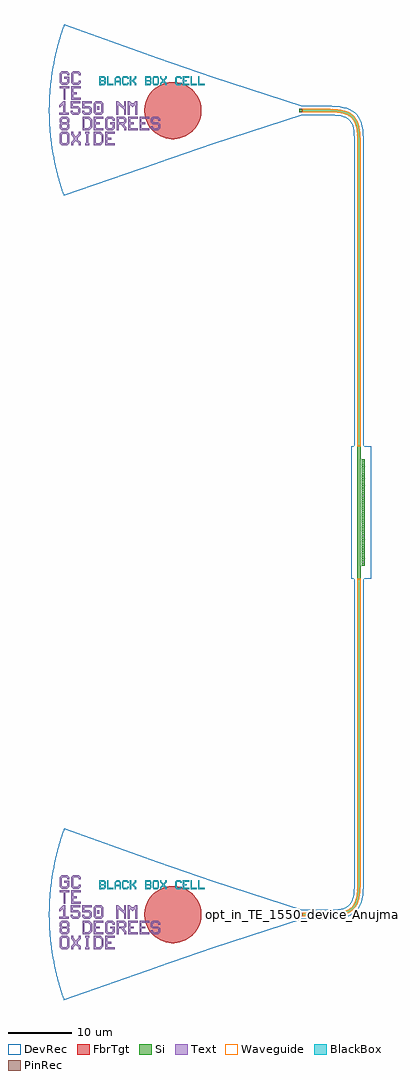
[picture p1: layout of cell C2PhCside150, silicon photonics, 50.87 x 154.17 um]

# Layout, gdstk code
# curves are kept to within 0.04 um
from math import pi, radians
import gdstk
lib = gdstk.Library(unit=1e-6, precision=1e-09)
def R(c, l, rs):  # rectangles x0, y0, x1, y1
    for r in rs: c.add(gdstk.rectangle(r[:2], r[2:], *l))
def P(c, l, *ps):  # polygons
    for p in ps: c.add(gdstk.Polygon(p, *l))
Si = (1, 0)
PinRec = (1, 10)
Waveguide = (1, 99)
Text = (10, 0)
DevRec = (68, 0)
FbrTgt = (81, 0)
BlackBox = (998, 0)

text = lib.new_cell('TEXT')
P(text, BlackBox, [(0,0),(0,1.4),(0.8,1.4),(1,1.2),(0.2,1.2),(0.2,0.8),(0.7,0.8),(0.8,0.9),(0.8,1.1),(0.7,1.2),(1,1.2),(1,0.8),(0.9,0.7),(1,0.6),(0.2,0.6),(0.2,0.2),(0.7,0.2),(0.8,0.3),(0.8,0.5),(0.7,0.6),(1,0.6),(1,0.2),(0.8,0)],
  [(1.2,0),(1.2,1.4),(1.4,1.4),(1.4,0.2),(2.2,0.2),(2.2,0)],
  [(2.4,0),(2.4,1.1),(2.7,1.4),(3.1,1.4),(3.3,1.2),(2.8,1.2),(2.6,1),(2.6,0.7),(3.2,0.7),(3.2,1),(3,1.2),(3.3,1.2),(3.4,1.1),(3.4,0),(3.2,0),(3.2,0.5),(2.6,0.5),(2.6,0)],
  [(3.8,0),(3.6,0.2),(3.6,1.2),(3.8,1.4),(4.4,1.4),(4.6,1.2),(4.6,1),(4.4,1),(4.4,1.1),(4.3,1.2),(3.9,1.2),(3.8,1.1),(3.8,0.3),(3.9,0.2),(4.3,0.2),(4.4,0.3),(4.4,0.4),(4.6,0.4),(4.6,0.2),(4.4,0)],
  [(4.8,0),(4.8,1.4),(5,1.4),(5,0.8),(5.2,0.8),(5.6,1.2),(5.6,1.4),(5.8,1.4),(5.8,1.1),(5.4,0.7),(5.8,0.3),(5.8,0),(5.6,0),(5.6,0.2),(5.2,0.6),(5,0.6),(5,0)],
  [(7.2,0),(7.2,1.4),(8,1.4),(8.2,1.2),(7.4,1.2),(7.4,0.8),(7.9,0.8),(8,0.9),(8,1.1),(7.9,1.2),(8.2,1.2),(8.2,0.8),(8.1,0.7),(8.2,0.6),(7.4,0.6),(7.4,0.2),(7.9,0.2),(8,0.3),(8,0.5),(7.9,0.6),(8.2,0.6),(8.2,0.2),(8,0)],
  [(8.6,0),(8.4,0.2),(8.4,1.2),(8.6,1.4),(9.2,1.4),(9.4,1.2),(9.4,0.7),(9.2,0.7),(9.2,1.1),(9.1,1.2),(8.7,1.2),(8.6,1.1),(8.6,0.3),(8.7,0.2),(9.1,0.2),(9.2,0.3),(9.2,0.7),(9.4,0.7),(9.4,0.2),(9.2,0)],
  [(9.6,0),(9.6,0.3),(9.9,0.6),(9.9,0.8),(9.6,1.1),(9.6,1.4),(9.8,1.4),(9.8,1.2),(10.1,0.9),(10.4,1.2),(10.4,1.4),(10.6,1.4),(10.6,1.1),(10.3,0.8),(10.3,0.6),(10.6,0.3),(10.6,0),(10.4,0),(10.4,0.2),(10.1,0.5),(9.8,0.2),(9.8,0)],
  [(12.2,0),(12,0.2),(12,1.2),(12.2,1.4),(12.8,1.4),(13,1.2),(13,1),(12.8,1),(12.8,1.1),(12.7,1.2),(12.3,1.2),(12.2,1.1),(12.2,0.3),(12.3,0.2),(12.7,0.2),(12.8,0.3),(12.8,0.4),(13,0.4),(13,0.2),(12.8,0)],
  [(13.2,0),(13.2,1.4),(14.2,1.4),(14.2,1.2),(13.4,1.2),(13.4,0.8),(13.8,0.8),(13.8,0.6),(13.4,0.6),(13.4,0.2),(14.2,0.2),(14.2,0)],
  [(14.4,0),(14.4,1.4),(14.6,1.4),(14.6,0.2),(15.4,0.2),(15.4,0)],
  [(15.6,0),(15.6,1.4),(15.8,1.4),(15.8,0.2),(16.6,0.2),(16.6,0)])

gc_te_1550_8degoxide_bb = lib.new_cell('GC_TE_1550_8degOxide_BB')
R(gc_te_1550_8degoxide_bb, Si, [(-0.4,-0.25,0,0.25)])
R(gc_te_1550_8degoxide_bb, Text, [(-32.313,0.092,-32.013,0.692)])
P(gc_te_1550_8degoxide_bb, Text, [(-37.67,1.71),(-37.67,3.51),(-38.27,3.51),(-38.27,3.81),(-36.77,3.81),(-36.77,3.51),(-37.37,3.51),(-37.37,1.71)],
  [(-37.97,-5.49),(-38.27,-5.19),(-38.27,-3.69),(-37.97,-3.39),(-37.07,-3.39),(-36.77,-3.69),(-36.77,-4.44),(-37.07,-4.44),(-37.07,-3.84),(-37.22,-3.69),(-37.82,-3.69),(-37.97,-3.84),(-37.97,-5.04),(-37.82,-5.19),(-37.22,-5.19),(-37.07,-5.04),(-37.07,-4.44),(-36.77,-4.44),(-36.77,-5.19),(-37.07,-5.49)],
  [(-31.07,-5.49),(-31.07,-3.39),(-29.57,-3.39),(-29.57,-3.69),(-30.77,-3.69),(-30.77,-4.29),(-30.17,-4.29),(-30.17,-4.59),(-30.77,-4.59),(-30.77,-5.19),(-29.57,-5.19),(-29.57,-5.49)],
  [(-32.87,-3.09),(-32.87,-0.99),(-31.37,-0.99),(-31.37,-1.29),(-32.57,-1.29),(-32.57,-1.89),(-31.97,-1.89),(-31.97,-2.19),(-32.57,-2.19),(-32.57,-2.79),(-31.37,-2.79),(-31.37,-3.09)],
  [(-27.47,-3.09),(-27.47,-0.99),(-25.97,-0.99),(-25.97,-1.29),(-27.17,-1.29),(-27.17,-1.89),(-26.57,-1.89),(-26.57,-2.19),(-27.17,-2.19),(-27.17,-2.79),(-25.97,-2.79),(-25.97,-3.09)],
  [(-25.67,-3.09),(-25.67,-0.99),(-24.17,-0.99),(-24.17,-1.29),(-25.37,-1.29),(-25.37,-1.89),(-24.77,-1.89),(-24.77,-2.19),(-25.37,-2.19),(-25.37,-2.79),(-24.17,-2.79),(-24.17,-3.09)],
  [(-36.47,1.71),(-36.47,3.81),(-34.97,3.81),(-34.97,3.51),(-36.17,3.51),(-36.17,2.91),(-35.57,2.91),(-35.57,2.61),(-36.17,2.61),(-36.17,2.01),(-34.97,2.01),(-34.97,1.71)],
  [(-29.313,-0.658),(-29.313,1.442),(-29.013,1.442),(-28.263,0.692),(-28.113,0.692),(-28.113,1.442),(-27.813,1.442),(-27.813,-0.658),(-28.113,-0.658),(-28.113,0.092),(-28.863,0.842),(-29.013,0.842),(-29.013,-0.658)],
  [(-34.22,-5.49),(-34.22,-5.19),(-34.07,-5.19),(-34.07,-3.69),(-34.22,-3.69),(-34.22,-3.39),(-33.62,-3.39),(-33.62,-3.69),(-33.77,-3.69),(-33.77,-5.19),(-33.62,-5.19),(-33.62,-5.49)],
  [(-36.17,4.11),(-36.47,4.41),(-36.47,5.91),(-36.17,6.21),(-35.27,6.21),(-34.97,5.91),(-34.97,5.61),(-35.27,5.61),(-35.27,5.76),(-35.42,5.91),(-36.02,5.91),(-36.17,5.76),(-36.17,4.56),(-36.02,4.41),(-35.42,4.41),(-35.27,4.56),(-35.27,4.71),(-34.97,4.71),(-34.97,4.41),(-35.27,4.11)],
  [(-27.513,-0.658),(-27.513,1.442),(-27.213,1.442),(-26.913,1.142),(-26.613,1.142),(-26.313,1.442),(-26.013,1.442),(-26.013,-0.658),(-26.313,-0.658),(-26.313,0.842),(-26.463,0.842),(-26.763,0.542),(-27.063,0.842),(-27.213,0.842),(-27.213,-0.658)],
  [(-32.613,-0.658),(-32.913,-0.358),(-32.913,1.142),(-32.613,1.442),(-31.713,1.442),(-31.413,1.142),(-32.463,1.142),(-32.613,0.992),(-32.613,-0.208),(-32.463,-0.358),(-31.863,-0.358),(-31.713,-0.208),(-31.713,0.992),(-31.863,1.142),(-31.413,1.142),(-31.413,-0.358),(-31.713,-0.658)],
  [(-32.87,-5.49),(-32.87,-3.39),(-31.82,-3.39),(-31.52,-3.69),(-32.57,-3.69),(-32.57,-5.19),(-31.97,-5.19),(-31.67,-4.89),(-31.67,-3.99),(-31.97,-3.69),(-31.52,-3.69),(-31.37,-3.84),(-31.37,-5.04),(-31.82,-5.49)],
  [(-34.67,-3.09),(-34.67,-0.99),(-33.62,-0.99),(-33.32,-1.29),(-34.37,-1.29),(-34.37,-2.79),(-33.77,-2.79),(-33.47,-2.49),(-33.47,-1.59),(-33.77,-1.29),(-33.32,-1.29),(-33.17,-1.44),(-33.17,-2.64),(-33.62,-3.09)],
  [(-23.57,-3.09),(-23.87,-2.79),(-23.87,-2.49),(-23.57,-2.49),(-23.57,-2.64),(-23.42,-2.79),(-22.82,-2.79),(-22.67,-2.64),(-22.67,-2.34),(-22.82,-2.19),(-23.57,-2.19),(-23.87,-1.89),(-23.87,-1.29),(-23.57,-0.99),(-22.67,-0.99),(-22.37,-1.29),(-22.37,-1.59),(-22.67,-1.59),(-22.67,-1.44),(-22.82,-1.29),(-23.42,-1.29),(-23.57,-1.44),(-23.57,-1.74),(-23.42,-1.89),(-22.67,-1.89),(-22.37,-2.19),(-22.37,-2.79),(-22.67,-3.09)],
  [(-36.213,-0.658),(-36.513,-0.358),(-36.513,-0.058),(-36.213,-0.058),(-36.213,-0.208),(-36.063,-0.358),(-35.463,-0.358),(-35.313,-0.208),(-35.313,0.242),(-35.463,0.392),(-36.513,0.392),(-36.513,1.442),(-35.013,1.442),(-35.013,1.142),(-36.213,1.142),(-36.213,0.692),(-35.313,0.692),(-35.013,0.392),(-35.013,-0.358),(-35.313,-0.658)],
  [(-34.413,-0.658),(-34.713,-0.358),(-34.713,-0.058),(-34.413,-0.058),(-34.413,-0.208),(-34.263,-0.358),(-33.663,-0.358),(-33.513,-0.208),(-33.513,0.242),(-33.663,0.392),(-34.713,0.392),(-34.713,1.442),(-33.213,1.442),(-33.213,1.142),(-34.413,1.142),(-34.413,0.692),(-33.513,0.692),(-33.213,0.392),(-33.213,-0.358),(-33.513,-0.658)],
  [(-37.97,-3.09),(-38.27,-2.79),(-38.27,-2.19),(-38.12,-2.04),(-38.27,-1.89),(-38.27,-1.29),(-37.97,-0.99),(-37.07,-0.99),(-36.77,-1.29),(-37.82,-1.29),(-37.97,-1.44),(-37.97,-1.74),(-37.82,-1.89),(-37.22,-1.89),(-37.07,-1.74),(-37.07,-1.44),(-37.22,-1.29),(-36.77,-1.29),(-36.77,-1.89),(-36.92,-2.04),(-36.77,-2.19),(-37.82,-2.19),(-37.97,-2.34),(-37.97,-2.64),(-37.82,-2.79),(-37.22,-2.79),(-37.07,-2.64),(-37.07,-2.34),(-37.22,-2.19),(-36.77,-2.19),(-36.77,-2.79),(-37.07,-3.09)],
  [(-38.313,-0.658),(-38.313,-0.358),(-37.713,-0.358),(-37.713,0.842),(-37.863,0.842),(-38.163,0.542),(-38.313,0.542),(-38.313,0.842),(-37.713,1.442),(-37.413,1.442),(-37.413,-0.358),(-36.813,-0.358),(-36.813,-0.658)],
  [(-36.47,-5.49),(-36.47,-5.04),(-36.02,-4.59),(-36.02,-4.29),(-36.47,-3.84),(-36.47,-3.39),(-36.17,-3.39),(-36.17,-3.69),(-35.72,-4.14),(-35.27,-3.69),(-35.27,-3.39),(-34.97,-3.39),(-34.97,-3.84),(-35.42,-4.29),(-35.42,-4.59),(-34.97,-5.04),(-34.97,-5.49),(-35.27,-5.49),(-35.27,-5.19),(-35.72,-4.74),(-36.17,-5.19),(-36.17,-5.49)],
  [(-30.77,-3.09),(-31.07,-2.79),(-31.07,-1.29),(-30.77,-0.99),(-29.87,-0.99),(-29.57,-1.29),(-29.57,-1.59),(-29.87,-1.59),(-29.87,-1.44),(-30.02,-1.29),(-30.62,-1.29),(-30.77,-1.44),(-30.77,-2.64),(-30.62,-2.79),(-30.02,-2.79),(-29.87,-2.64),(-29.87,-2.19),(-30.32,-2.19),(-30.32,-1.89),(-29.57,-1.89),(-29.57,-2.79),(-29.87,-3.09)],
  [(-37.97,4.11),(-38.27,4.41),(-38.27,5.91),(-37.97,6.21),(-37.07,6.21),(-36.77,5.91),(-36.77,5.61),(-37.07,5.61),(-37.07,5.76),(-37.22,5.91),(-37.82,5.91),(-37.97,5.76),(-37.97,4.56),(-37.82,4.41),(-37.22,4.41),(-37.07,4.56),(-37.07,5.01),(-37.52,5.01),(-37.52,5.31),(-36.77,5.31),(-36.77,4.41),(-37.07,4.11)],
  [(-29.27,-3.09),(-29.27,-0.99),(-28.07,-0.99),(-27.77,-1.29),(-28.97,-1.29),(-28.97,-1.89),(-28.22,-1.89),(-28.07,-1.74),(-28.07,-1.44),(-28.22,-1.29),(-27.77,-1.29),(-27.77,-1.89),(-28.07,-2.19),(-28.07,-2.34),(-27.77,-2.64),(-27.77,-3.09),(-28.07,-3.09),(-28.07,-2.79),(-28.67,-2.19),(-28.97,-2.19),(-28.97,-3.09)])
P(gc_te_1550_8degoxide_bb, DevRec, [(-37.607,-13.5),(-38.627,-10.245),(-39.378,-6.832),(-39.647,-5.058),(-39.835,-3.274),(-39.969,0.224),(-39.812,3.541),(-39.331,7.097),(-38.557,10.505),(-37.546,13.669),(-22.8,8.353),(-14.109,5.36),(0,0.75),(0,-0.75),(-14.109,-5.36)])
P(gc_te_1550_8degoxide_bb, FbrTgt, [(-20.621,-4.5),(-21.495,-4.37),(-22.326,-4.073),(-23.084,-3.619),(-23.738,-3.026),(-24.264,-2.316),(-24.642,-1.518),(-24.857,-0.661),(-24.9,0.221),(-24.77,1.095),(-24.473,1.926),(-24.019,2.684),(-23.426,3.338),(-22.716,3.864),(-21.918,4.242),(-21.061,4.457),(-20.179,4.5),(-19.305,4.37),(-18.474,4.073),(-17.716,3.619),(-17.062,3.026),(-16.536,2.316),(-16.158,1.518),(-15.943,0.661),(-15.9,-0.221),(-16.03,-1.095),(-16.327,-1.926),(-16.781,-2.684),(-17.374,-3.338),(-18.084,-3.864),(-18.882,-4.242),(-19.739,-4.457)])
gc_te_1550_8degoxide_bb.add(gdstk.FlexPath([(-0.01,0),(0.01,0)], 0.5, ends="flush", simple_path=True, layer=1, datatype=10))  # PinRec
gc_te_1550_8degoxide_bb.add(gdstk.Reference(text, (-32,4)))
gc_te_1550_8degoxide_bb.add(gdstk.Label('opt1', (0,0), layer=1, texttype=10))
gc_te_1550_8degoxide_bb.add(gdstk.Label('Lumerical_INTERCONNECT_library=Design kits/ebeam', (-29,-7), layer=68, texttype=0))
gc_te_1550_8degoxide_bb.add(gdstk.Label('Component=GC_TE_1550_8degOxide_BB', (-28,-5), layer=68, texttype=0))

nanobeam_side_r110nm_ac3 = lib.new_cell('nanobeam_side_r110nm_ac342nm_am377nm_m12_g150nm')
R(nanobeam_side_r110nm_ac3, Si, [(-10.441,-0.25,10.441,0.25)])
P(nanobeam_side_r110nm_ac3, Si, [(-8.441,-0.9),(-8.441,-0.54),(-7.831,-0.54),(-7.909,-0.572),(-7.941,-0.639),(-7.909,-0.728),(-7.831,-0.76),(-7.753,-0.728),(-7.721,-0.65),(-7.753,-0.572),(-7.831,-0.54),(-7.455,-0.54),(-7.532,-0.572),(-7.565,-0.65),(-7.54,-0.72),(-7.455,-0.76),(-7.377,-0.728),(-7.345,-0.661),(-7.377,-0.572),(-7.455,-0.54),(-7.078,-0.54),(-7.156,-0.572),(-7.188,-0.65),(-7.156,-0.728),(-7.078,-0.76),(-7,-0.728),(-6.968,-0.661),(-7,-0.572),(-7.078,-0.54),(-6.701,-0.54),(-6.779,-0.572),(-6.811,-0.639),(-6.779,-0.728),(-6.701,-0.76),(-6.624,-0.728),(-6.591,-0.65),(-6.616,-0.58),(-6.701,-0.54),(-6.325,-0.54),(-6.403,-0.572),(-6.435,-0.65),(-6.403,-0.728),(-6.325,-0.76),(-6.247,-0.728),(-6.215,-0.661),(-6.247,-0.572),(-6.325,-0.54),(-5.948,-0.54),(-6.026,-0.572),(-6.058,-0.639),(-6.026,-0.728),(-5.948,-0.76),(-5.87,-0.728),(-5.838,-0.65),(-5.87,-0.572),(-5.948,-0.54),(-5.572,-0.54),(-5.649,-0.572),(-5.682,-0.65),(-5.657,-0.72),(-5.572,-0.76),(-5.494,-0.728),(-5.462,-0.661),(-5.494,-0.572),(-5.572,-0.54),(-5.195,-0.54),(-5.273,-0.572),(-5.305,-0.639),(-5.273,-0.728),(-5.195,-0.76),(-5.117,-0.728),(-5.085,-0.65),(-5.117,-0.572),(-5.195,-0.54),(-4.818,-0.54),(-4.896,-0.572),(-4.928,-0.639),(-4.904,-0.72),(-4.818,-0.76),(-4.741,-0.728),(-4.708,-0.65),(-4.733,-0.58),(-4.818,-0.54),(-4.442,-0.54),(-4.52,-0.572),(-4.552,-0.65),(-4.52,-0.728),(-4.442,-0.76),(-4.364,-0.728),(-4.332,-0.661),(-4.364,-0.572),(-4.442,-0.54),(-4.065,-0.54),(-4.143,-0.572),(-4.175,-0.639),(-4.143,-0.728),(-4.065,-0.76),(-3.988,-0.728),(-3.955,-0.65),(-3.98,-0.58),(-4.065,-0.54),(-3.689,-0.54),(-3.767,-0.572),(-3.799,-0.65),(-3.767,-0.728),(-3.689,-0.76),(-3.611,-0.728),(-3.579,-0.661),(-3.611,-0.572),(-3.689,-0.54),(-3.319,-0.54),(-3.397,-0.572),(-3.429,-0.65),(-3.397,-0.728),(-3.319,-0.76),(-3.241,-0.728),(-3.209,-0.661),(-3.241,-0.572),(-3.319,-0.54),(-2.955,-0.54),(-3.032,-0.572),(-3.065,-0.65),(-3.04,-0.72),(-2.955,-0.76),(-2.877,-0.728),(-2.845,-0.661),(-2.877,-0.572),(-2.955,-0.54),(-2.596,-0.54),(-2.674,-0.572),(-2.706,-0.65),(-2.674,-0.728),(-2.596,-0.76),(-2.518,-0.728),(-2.486,-0.661),(-2.518,-0.572),(-2.596,-0.54),(-2.241,-0.54),(-2.319,-0.572),(-2.351,-0.639),(-2.319,-0.728),(-2.241,-0.76),(-2.164,-0.728),(-2.131,-0.65),(-2.156,-0.58),(-2.241,-0.54),(-1.891,-0.54),(-1.969,-0.572),(-2.001,-0.65),(-1.969,-0.728),(-1.891,-0.76),(-1.813,-0.728),(-1.781,-0.661),(-1.813,-0.572),(-1.891,-0.54),(-1.543,-0.54),(-1.621,-0.572),(-1.653,-0.639),(-1.621,-0.728),(-1.543,-0.76),(-1.466,-0.728),(-1.433,-0.65),(-1.458,-0.58),(-1.543,-0.54),(-1.198,-0.54),(-1.276,-0.572),(-1.308,-0.639),(-1.276,-0.728),(-1.198,-0.76),(-1.121,-0.728),(-1.088,-0.65),(-1.113,-0.58),(-1.198,-0.54),(-0.855,-0.54),(-0.933,-0.572),(-0.965,-0.639),(-0.933,-0.728),(-0.855,-0.76),(-0.777,-0.728),(-0.745,-0.65),(-0.777,-0.572),(-0.855,-0.54),(-0.513,-0.54),(-0.591,-0.572),(-0.623,-0.65),(-0.591,-0.728),(-0.513,-0.76),(-0.435,-0.728),(-0.403,-0.661),(-0.435,-0.572),(-0.513,-0.54),(-0.171,-0.54),(-0.249,-0.572),(-0.281,-0.65),(-0.249,-0.728),(-0.171,-0.76),(-0.093,-0.728),(-0.061,-0.661),(-0.093,-0.572),(-0.171,-0.54),(0.171,-0.54),(0.093,-0.572),(0.061,-0.639),(0.093,-0.728),(0.171,-0.76),(0.249,-0.728),(0.281,-0.65),(0.249,-0.572),(0.171,-0.54),(0.513,-0.54),(0.435,-0.572),(0.403,-0.639),(0.435,-0.728),(0.513,-0.76),(0.591,-0.728),(0.623,-0.65),(0.591,-0.572),(0.513,-0.54),(0.855,-0.54),(0.777,-0.572),(0.745,-0.65),(0.777,-0.728),(0.855,-0.76),(0.933,-0.728),(0.965,-0.661),(0.933,-0.572),(0.855,-0.54),(1.198,-0.54),(1.121,-0.572),(1.088,-0.65),(1.113,-0.72),(1.198,-0.76),(1.276,-0.728),(1.308,-0.661),(1.276,-0.572),(1.198,-0.54),(1.543,-0.54),(1.466,-0.572),(1.433,-0.65),(1.458,-0.72),(1.543,-0.76),(1.621,-0.728),(1.653,-0.661),(1.621,-0.572),(1.543,-0.54),(1.891,-0.54),(1.813,-0.572),(1.781,-0.639),(1.813,-0.728),(1.891,-0.76),(1.969,-0.728),(2.001,-0.65),(1.969,-0.572),(1.891,-0.54),(2.241,-0.54),(2.164,-0.572),(2.131,-0.65),(2.156,-0.72),(2.241,-0.76),(2.319,-0.728),(2.351,-0.661),(2.319,-0.572),(2.241,-0.54),(2.596,-0.54),(2.518,-0.572),(2.486,-0.639),(2.518,-0.728),(2.596,-0.76),(2.674,-0.728),(2.706,-0.65),(2.674,-0.572),(2.596,-0.54),(2.955,-0.54),(2.877,-0.572),(2.845,-0.639),(2.877,-0.728),(2.955,-0.76),(3.032,-0.728),(3.065,-0.65),(3.04,-0.58),(2.955,-0.54),(3.319,-0.54),(3.241,-0.572),(3.209,-0.639),(3.241,-0.728),(3.319,-0.76),(3.397,-0.728),(3.429,-0.65),(3.397,-0.572),(3.319,-0.54),(3.689,-0.54),(3.611,-0.572),(3.579,-0.639),(3.611,-0.728),(3.689,-0.76),(3.767,-0.728),(3.799,-0.65),(3.767,-0.572),(3.689,-0.54),(4.065,-0.54),(3.988,-0.572),(3.955,-0.65),(3.98,-0.72),(4.065,-0.76),(4.143,-0.728),(4.175,-0.661),(4.143,-0.572),(4.065,-0.54),(4.442,-0.54),(4.364,-0.572),(4.332,-0.639),(4.364,-0.728),(4.442,-0.76),(4.52,-0.728),(4.552,-0.65),(4.52,-0.572),(4.442,-0.54),(4.818,-0.54),(4.741,-0.572),(4.708,-0.65),(4.733,-0.72),(4.818,-0.76),(4.896,-0.728),(4.928,-0.661),(4.904,-0.58),(4.818,-0.54),(5.195,-0.54),(5.117,-0.572),(5.085,-0.65),(5.117,-0.728),(5.195,-0.76),(5.273,-0.728),(5.305,-0.661),(5.273,-0.572),(5.195,-0.54),(5.572,-0.54),(5.494,-0.572),(5.462,-0.639),(5.494,-0.728),(5.572,-0.76),(5.649,-0.728),(5.682,-0.65),(5.657,-0.58),(5.572,-0.54),(5.948,-0.54),(5.87,-0.572),(5.838,-0.65),(5.87,-0.728),(5.948,-0.76),(6.026,-0.728),(6.058,-0.661),(6.026,-0.572),(5.948,-0.54),(6.325,-0.54),(6.247,-0.572),(6.215,-0.639),(6.247,-0.728),(6.325,-0.76),(6.403,-0.728),(6.435,-0.65),(6.403,-0.572),(6.325,-0.54),(6.701,-0.54),(6.624,-0.572),(6.591,-0.65),(6.616,-0.72),(6.701,-0.76),(6.779,-0.728),(6.811,-0.661),(6.779,-0.572),(6.701,-0.54),(7.078,-0.54),(7,-0.572),(6.968,-0.639),(6.993,-0.72),(7.067,-0.759),(7.156,-0.728),(7.188,-0.65),(7.156,-0.572),(7.078,-0.54),(7.455,-0.54),(7.377,-0.572),(7.345,-0.639),(7.363,-0.711),(7.433,-0.758),(7.516,-0.741),(7.564,-0.661),(7.54,-0.58),(7.455,-0.54),(7.831,-0.54),(7.753,-0.572),(7.722,-0.639),(7.746,-0.72),(7.81,-0.758),(7.901,-0.735),(7.941,-0.661),(7.909,-0.572),(7.831,-0.54),(-8.441,-0.54),(-8.441,-0.4),(8.441,-0.4),(8.441,-0.9)])
R(nanobeam_side_r110nm_ac3, DevRec, [(-10.441,-1.9,10.441,1.25)])
nanobeam_side_r110nm_ac3.add(gdstk.FlexPath([(-10.431,0),(-10.451,0)], 0.5, ends="flush", simple_path=True, layer=1, datatype=10))  # PinRec
nanobeam_side_r110nm_ac3.add(gdstk.FlexPath([(10.431,0),(10.451,0)], 0.5, ends="flush", simple_path=True, layer=1, datatype=10))  # PinRec
nanobeam_side_r110nm_ac3.add(gdstk.Label('opt1', (-10.441,0), layer=1, texttype=10))
nanobeam_side_r110nm_ac3.add(gdstk.Label('opt2', (10.441,0), layer=1, texttype=10))
nanobeam_side_r110nm_ac3.add(gdstk.Label('Lumerical_INTERCONNECT_library=Custom/SiEPIC_user', (0,0), layer=68, texttype=0))
nanobeam_side_r110nm_ac3.add(gdstk.Label('Component=nanobeam_side_r110nm_ac342nm_am377nm_m12_g150nm', (0,-0.5), layer=68, texttype=0))
nanobeam_side_r110nm_ac3.add(gdstk.Label('Spice_param:r=0.110u gap=0.150u holes=44', (0,-1), layer=68, texttype=0))

waveguide_54 = lib.new_cell('Waveguide$54')
P(waveguide_54, Si, [(549,253.75),(549,254.25),(553.829,254.267),(554.889,254.362),(555.864,254.594),(556.493,254.906),(557.03,255.417),(557.405,256.135),(557.612,256.955),(557.711,257.793),(557.75,259),(557.75,307.059),(558.25,307.059),(558.25,259),(558.209,257.757),(558.104,256.869),(557.824,255.832),(557.432,255.119),(556.88,254.567),(556.032,254.124),(555.13,253.895),(554.049,253.777)])
P(waveguide_54, Waveguide, [(549,253.75),(549,254.25),(553.829,254.267),(554.889,254.362),(555.864,254.594),(556.493,254.906),(557.03,255.417),(557.405,256.135),(557.612,256.955),(557.711,257.793),(557.75,259),(557.75,307.059),(558.25,307.059),(558.25,259),(558.209,257.757),(558.104,256.869),(557.824,255.832),(557.432,255.119),(556.88,254.567),(556.032,254.124),(555.13,253.895),(554.049,253.777)])
P(waveguide_54, DevRec, [(549,253.25),(549,254.75),(553.649,254.76),(555.193,254.925),(555.895,255.145),(556.375,255.442),(556.557,255.624),(556.854,256.104),(557.074,256.806),(557.207,257.769),(557.25,259),(557.25,307.059),(558.75,307.059),(558.75,259),(558.703,257.649),(558.54,256.49),(558.222,255.49),(557.697,254.65),(556.95,254.011),(556.027,253.595),(554.952,253.361),(553.701,253.26)])
waveguide_54.add(gdstk.FlexPath([(549.01,254),(548.99,254)], 0.5, ends="flush", simple_path=True, layer=1, datatype=10))  # PinRec
waveguide_54.add(gdstk.FlexPath([(558,307.049),(558,307.069)], 0.5, ends="flush", simple_path=True, layer=1, datatype=10))  # PinRec
waveguide_54.add(gdstk.Label('opt1', (549,254), layer=1, texttype=10))
waveguide_54.add(gdstk.Label('opt2', (558,307.059), layer=1, texttype=10))
waveguide_54.add(gdstk.Label('Lumerical_INTERCONNECT_library=Design kits/EBeam', (549,253.9), layer=68, texttype=0))
waveguide_54.add(gdstk.Label('Component=ebeam_wg_integral_1550', (549,254.1), layer=68, texttype=0))
waveguide_54.add(gdstk.Label('cellName=Waveguide', (549,254.2), layer=68, texttype=0))
waveguide_54.add(gdstk.Label('Spice_param:wg_length=0.000060507 wg_width=5e-07 points="[[549.0,254.0],[558.0,254.0],[558.0,307.059]]" radius=5e-06', (549,254), layer=68, texttype=0))
waveguide_54.add(gdstk.Label('Length=60.507 (microns)', (549,253.4), layer=68, texttype=0))
waveguide_54.add(gdstk.Label('waveguide_type=Strip TE 1550 nm, w=500 nm', (549,253.8), layer=68, texttype=0))

waveguide_55 = lib.new_cell('Waveguide$55')
P(waveguide_55, Si, [(557.75,327.941),(557.75,376),(557.712,377.206),(557.613,378.044),(557.406,378.864),(557.031,379.582),(556.494,380.093),(555.865,380.405),(554.89,380.637),(553.83,380.732),(549,380.75),(549,381.25),(554.05,381.222),(555.131,381.104),(556.033,380.875),(556.881,380.432),(557.433,379.88),(557.825,379.167),(558.105,378.13),(558.21,377.242),(558.25,376),(558.25,327.941)])
P(waveguide_55, Waveguide, [(557.75,327.941),(557.75,376),(557.712,377.206),(557.613,378.044),(557.406,378.864),(557.031,379.582),(556.494,380.093),(555.865,380.405),(554.89,380.637),(553.83,380.732),(549,380.75),(549,381.25),(554.05,381.222),(555.131,381.104),(556.033,380.875),(556.881,380.432),(557.433,379.88),(557.825,379.167),(558.105,378.13),(558.21,377.242),(558.25,376),(558.25,327.941)])
P(waveguide_55, DevRec, [(557.25,327.941),(557.25,376),(557.153,377.744),(556.975,378.575),(556.715,379.158),(556.558,379.375),(556.159,379.714),(555.576,379.974),(554.745,380.152),(553.65,380.239),(549,380.25),(549,381.75),(554.351,381.703),(555.51,381.54),(556.51,381.222),(557.35,380.697),(557.989,379.95),(558.405,379.027),(558.639,377.952),(558.75,376),(558.75,327.941)])
waveguide_55.add(gdstk.FlexPath([(558,327.951),(558,327.931)], 0.5, ends="flush", simple_path=True, layer=1, datatype=10))  # PinRec
waveguide_55.add(gdstk.FlexPath([(549.01,381),(548.99,381)], 0.5, ends="flush", simple_path=True, layer=1, datatype=10))  # PinRec
waveguide_55.add(gdstk.Label('opt1', (558,327.941), layer=1, texttype=10))
waveguide_55.add(gdstk.Label('opt2', (549,381), layer=1, texttype=10))
waveguide_55.add(gdstk.Label('Lumerical_INTERCONNECT_library=Design kits/EBeam', (557.9,327.941), layer=68, texttype=0))
waveguide_55.add(gdstk.Label('Component=ebeam_wg_integral_1550', (558.1,327.941), layer=68, texttype=0))
waveguide_55.add(gdstk.Label('cellName=Waveguide', (558.2,327.941), layer=68, texttype=0))
waveguide_55.add(gdstk.Label('Spice_param:wg_length=0.000060507 wg_width=5e-07 points="[[558.0,327.941],[558.0,381.0],[549.0,381.0]]" radius=5e-06', (558,327.941), layer=68, texttype=0))
waveguide_55.add(gdstk.Label('Length=60.507 (microns)', (557.4,327.941), layer=68, texttype=0))
waveguide_55.add(gdstk.Label('waveguide_type=Strip TE 1550 nm, w=500 nm', (557.8,327.941), layer=68, texttype=0))

c2phcside150 = lib.new_cell('C2PhCside150')
c2phcside150.add(gdstk.Reference(gc_te_1550_8degoxide_bb, (549,254)))
c2phcside150.add(gdstk.Reference(gc_te_1550_8degoxide_bb, (549,381)))
c2phcside150.add(gdstk.Reference(nanobeam_side_r110nm_ac3, (558,317.5), rotation=pi/2))
c2phcside150.add(gdstk.Reference(waveguide_54, (0,0)))
c2phcside150.add(gdstk.Reference(waveguide_55, (0,0)))
c2phcside150.add(gdstk.Label('opt_in_TE_1550_device_Anujmaverick_C2PhCside150', (549,254), layer=10, texttype=0))

lib.write_gds('C2PhCside150.gds')
